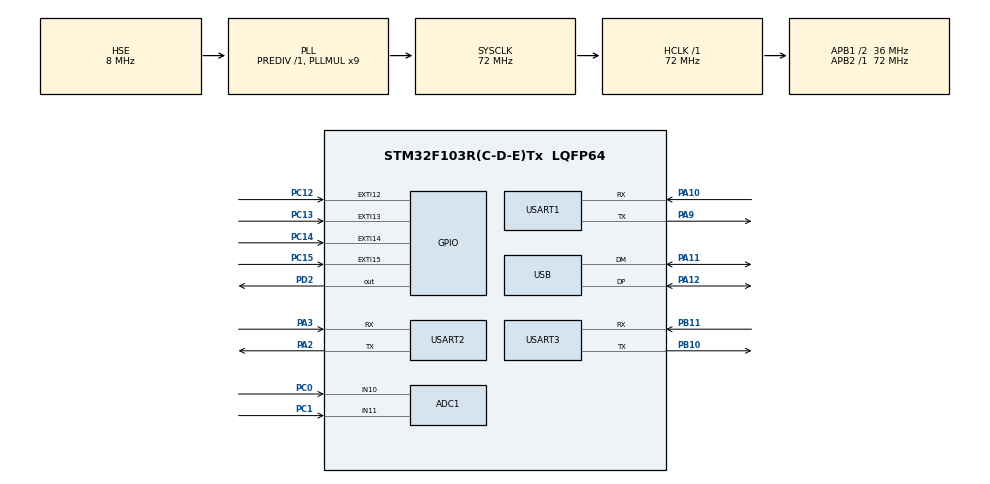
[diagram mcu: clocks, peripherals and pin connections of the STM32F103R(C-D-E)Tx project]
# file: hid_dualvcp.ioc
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ADC1.Channel-0\#ChannelRegularConversion=ADC_CHANNEL_10
ADC1.Channel-1\#ChannelRegularConversion=ADC_CHANNEL_11
ADC1.ContinuousConvMode=ENABLE
ADC1.NbrOfConversion=2
ADC1.NbrOfConversionFlag=1
ADC1.Rank-0\#ChannelRegularConversion=1
ADC1.Rank-1\#ChannelRegularConversion=2
ADC1.SamplingTime-0\#ChannelRegularConversion=ADC_SAMPLETIME_28CYCLES_5
ADC1.SamplingTime-1\#ChannelRegularConversion=ADC_SAMPLETIME_28CYCLES_5
ADC1.master=1
Dma.ADC1.0.Direction=DMA_PERIPH_TO_MEMORY
Dma.ADC1.0.Instance=DMA1_Channel1
Dma.ADC1.0.MemDataAlignment=DMA_MDATAALIGN_HALFWORD
Dma.ADC1.0.MemInc=DMA_MINC_ENABLE
Dma.ADC1.0.Mode=DMA_CIRCULAR
Dma.ADC1.0.PeriphDataAlignment=DMA_PDATAALIGN_HALFWORD
Dma.ADC1.0.PeriphInc=DMA_PINC_DISABLE
Dma.ADC1.0.Priority=DMA_PRIORITY_LOW
Dma.Request0=ADC1
Mcu.Family=STM32F1
Mcu.Name=STM32F103R(C-D-E)Tx
Mcu.Package=LQFP64
NVIC.DMA1_Channel1_IRQn=true\:0\:0\:false\:false\:true\:false\:true\:true
NVIC.EXTI15_10_IRQn=true\:0\:0\:false\:false\:true\:true\:true\:true
NVIC.PriorityGroup=NVIC_PRIORITYGROUP_2
NVIC.USART1_IRQn=true\:0\:0\:false\:false\:true\:false\:true\:true
NVIC.USART2_IRQn=true\:0\:0\:false\:false\:true\:false\:true\:true
NVIC.USART3_IRQn=true\:0\:0\:false\:false\:true\:true\:true\:true
NVIC.USB_LP_CAN1_RX0_IRQn=true\:0\:0\:false\:false\:true\:true\:true\:true
PA10.Mode=Asynchronous
PA10.Signal=USART1_RX
PA11.Mode=Device
PA11.Signal=USB_DM
PA12.Mode=Device
PA12.Signal=USB_DP
PA13.Mode=Serial_Wire
PA13.Signal=SYS_JTMS-SWDIO
PA14.Mode=Serial_Wire
PA14.Signal=SYS_JTCK-SWCLK
PA2.Mode=Asynchronous
PA2.Signal=USART2_TX
PA3.Mode=Asynchronous
PA3.Signal=USART2_RX
PA9.Mode=Asynchronous
PA9.Signal=USART1_TX
PB10.Mode=Asynchronous
PB10.Signal=USART3_TX
PB11.Mode=Asynchronous
PB11.Signal=USART3_RX
PC0.Signal=ADCx_IN10
PC1.Signal=ADCx_IN11
PC12.GPIO_ModeDefaultEXTI=GPIO_MODE_IT_RISING_FALLING
PC12.Signal=GPXTI12
PC13-TAMPER-RTC.GPIO_ModeDefaultEXTI=GPIO_MODE_IT_RISING_FALLING
PC13-TAMPER-RTC.Signal=GPXTI13
PC14-OSC32_IN.GPIO_ModeDefaultEXTI=GPIO_MODE_IT_RISING_FALLING
PC14-OSC32_IN.Signal=GPXTI14
PC15-OSC32_OUT.GPIO_ModeDefaultEXTI=GPIO_MODE_IT_RISING_FALLING
PC15-OSC32_OUT.Signal=GPXTI15
PD0-OSC_IN.Mode=HSE-External-Oscillator
PD0-OSC_IN.Signal=RCC_OSC_IN
PD1-OSC_OUT.Mode=HSE-External-Oscillator
PD1-OSC_OUT.Signal=RCC_OSC_OUT
PD2.GPIO_ModeDefaultOutputPP=GPIO_MODE_OUTPUT_OD
PD2.GPIO_PuPd=GPIO_NOPULL
PD2.PinState=GPIO_PIN_SET
PD2.Signal=GPIO_Output
ProjectManager.HeapSize=0x800
ProjectManager.StackSize=0x400
ProjectManager.TargetToolchain=STM32CubeIDE
RCC.ADCPresc=RCC_ADCPCLK2_DIV6
RCC.AHBFreq_Value=72000000
RCC.APB1CLKDivider=RCC_HCLK_DIV2
RCC.APB1Freq_Value=36000000
RCC.APB1TimFreq_Value=72000000
RCC.APB2Freq_Value=72000000
RCC.APB2TimFreq_Value=72000000
RCC.HCLKFreq_Value=72000000
RCC.PLLMUL=RCC_PLL_MUL9
RCC.SYSCLKFreq_VALUE=72000000
RCC.SYSCLKSource=RCC_SYSCLKSOURCE_PLLCLK
RCC.USBFreq_Value=48000000
RCC.USBPrescaler=RCC_USBCLKSOURCE_PLL_DIV1_5
SH.ADCx_IN10.0=ADC1_IN10,IN10
SH.ADCx_IN11.0=ADC1_IN11,IN11
USART1.VirtualMode=VM_ASYNC
USART2.VirtualMode=VM_ASYNC
USART3.VirtualMode=VM_ASYNC
board=custom

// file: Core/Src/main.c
/* USER CODE BEGIN Header */
/**
  ******************************************************************************
  * @file           : main.c
  * @brief          : Main program body
  ******************************************************************************
  * @attention
  *
  * Copyright (c) 2026 STMicroelectronics.
  * All rights reserved.
  *
  * This software is licensed under terms that can be found in the LICENSE file
  * in the root directory of this software component.
  * If no LICENSE file comes with this software, it is provided AS-IS.
  *
  ******************************************************************************
  */
/* USER CODE END Header */
#include "main.h"
#include "usb_device.h"
#include "usb_hid_keys.h"

/* USER CODE BEGIN Includes */
#include "usbd_core.h"
#include "usbd_cdc.h"
#include "usbd_cdc_if.h"
#include "usbd_hid.h"
#include "usbd_desc.h"
#include "usbd_composite_builder.h"

/* USER CODE END Includes */

ADC_HandleTypeDef hadc1;
DMA_HandleTypeDef hdma_adc1;

UART_HandleTypeDef huart1;
UART_HandleTypeDef huart2;
UART_HandleTypeDef huart3;

PCD_HandleTypeDef hpcd_USB_FS;

/* USER CODE BEGIN PV */

#define MAX_VCP_RXBUFFER	128
#define MAX_VCP_TXBUFFER	128
#define MAX_DBG_RXBUFFER	64
#define MAX_DBG_TXBUFFFER	128

uint8_t bufRxVCP[MAX_VCP_COUNT][MAX_VCP_RXBUFFER], bufRxDebug[MAX_DBG_RXBUFFER];
uint8_t bufTxVCP[MAX_VCP_COUNT][MAX_VCP_TXBUFFER], bufTxDebug[MAX_DBG_TXBUFFFER];

RingBuffer rbRxVCP[MAX_VCP_COUNT], rbRxDebug;
RingBuffer rbTxVCP[MAX_VCP_COUNT], rbTxDebug;

UartState uartVCP[MAX_VCP_COUNT], uartDebug;

uint8_t hidReport[16];

uint16_t adcValue[2];
uint32_t adcAverage[2];

uint8_t mouseButton;
int8_t mouseMovement[2]; // [UP/DOWN, LEFT/RIGHT]

extern USBD_HandleTypeDef hUsbDeviceFS;
extern uint8_t HID_InstID, CDC_InstID0, CDC_InstID1;

/* USER CODE END PV */

void SystemClock_Config(void);
static void MX_GPIO_Init(void);
static void MX_DMA_Init(void);
static void MX_USART1_UART_Init(void);
static void MX_USART2_UART_Init(void);
static void MX_USART3_UART_Init(void);
static void MX_ADC1_Init(void);
/* USER CODE BEGIN PFP */
extern void DualVCP_UartInit();
/* USER CODE END PFP */

int main(void)
{

  /* USER CODE BEGIN 1 */
  memset(&hidReport, 0, sizeof(hidReport));
  /* USER CODE END 1 */

  /* MCU Configuration--------------------------------------------------------*/

  /* Reset of all peripherals, Initializes the Flash interface and the Systick. */
  HAL_Init();

  /* Configure the system clock */
  SystemClock_Config();

  /* Initialize all configured peripherals */
  MX_GPIO_Init();
  MX_DMA_Init();
  MX_USART1_UART_Init();
  MX_USART2_UART_Init();
  MX_USART3_UART_Init();
  MX_ADC1_Init();
  /* USER CODE BEGIN 2 */
  MX_USB_DEVICE_Init();

  // initialize RingBuffer
  for (int i = 0; i < MAX_VCP_COUNT; ++i)
  {
	  RB_Init(&rbRxVCP[i], &bufRxVCP[0][0], MAX_VCP_RXBUFFER);
	  RB_Init(&rbTxVCP[i], &bufTxVCP[0][0], MAX_VCP_TXBUFFER);
  }

  RB_Init(&rbRxDebug, &bufRxDebug[0], MAX_VCP_RXBUFFER);
  RB_Init(&rbTxDebug, &bufTxDebug[0], MAX_VCP_TXBUFFER);

  // initialize UART
  for (int i = 0; i < MAX_VCP_COUNT; ++i)
	  UART_Init(&uartVCP[i], i == 0 ? &huart2 : &huart3, &rbRxVCP[i], &rbTxVCP[i]);

  UART_Init(&uartDebug, &huart1, &rbRxDebug, &rbTxDebug);

  /* USER CODE END 2 */

  /* Infinite loop */
  /* USER CODE BEGIN WHILE */

  //
  mouseButton = 0;
  memset(&adcAverage[0], 0, sizeof(adcAverage));
  memset(&mouseMovement[0], 0, sizeof(mouseMovement));

  HAL_ADC_Start_DMA(&hadc1, (uint32_t *)&adcValue[0], 2);

  //
  uint32_t lastTick = HAL_GetTick();
  while (1)
  {
	  //
	for (int i = 0; i < 2; i++)
	{
		//  UART.rxBuf <--- received from UART device
		//  UART.txBuf <--- received from USB host
		//
		//  rx_available : rxBuf is not empty & txUsbLen is zero
		//    ---> CDC_Transmit()
		//  tx_available : txBuf is not empty & txUartLen is zero
		//    ---> HAL_UART_Transmit()
		//
		if (UART_RxAvailable(&uartVCP[i]) > 0)
		{
			uint16_t len;
			uint8_t *data = UART_PreserveRxBuffer(&uartVCP[i], USB_FS_MAX_PACKET_SIZE, &len);

			// uint8_t CDC_Transmit_FS(uint8_t* Buf, uint16_t Len, uint32_t classId);
			if (CDC_Transmit_FS(data, len, i == 0 ? CDC_InstID0 : CDC_InstID1) != USBD_OK)
				UART_CheckoutRxBuffer(&uartVCP[i]);
		}

		if (UART_TxAvailable(&uartVCP[i]) > 0)
		{
			uint16_t len;
			uint8_t *data = UART_PreserveTxBuffer(&uartVCP[i], -1, &len);

			if (HAL_UART_Transmit_IT(uartVCP[i].pHandle, data, len) != HAL_OK)
				UART_CheckoutTxBuffer(&uartVCP[i]);
		}
	}

	//
#if 0
	if (UART_RxAvailable(&uartDebug) > 0)
	{
		uint16_t len;
		uint8_t *data = UART_PreserveRxBuffer(&uartDebug, 64, &len);
		//
		// parse incoming
		//
		UART_CheckoutRxBuffer(&uartDebug);
	}
#endif
	if (UART_TxAvailable(&uartDebug) > 0)
	{
		uint16_t len;
		uint8_t *data = UART_PreserveTxBuffer(&uartDebug, -1, &len);

		if (HAL_UART_Transmit_IT(uartDebug.pHandle, data, len) != HAL_OK)
			UART_CheckoutTxBuffer(&uartDebug);
	}

	//
	if (HAL_GetTick() - lastTick > 1000)
	{
		//printf("%u %u\r\n", adcValue[0], adcValue[1]);
		lastTick = HAL_GetTick();
	}

	/*
	if(HAL_GPIO_ReadPin(GPIOC, GPIO_PIN_13) == GPIO_PIN_SET)
	{
		USBD_HID_SendReport(&hUsbDeviceFS, hid_report_buffer, 4, HID_InstID);
		//USBD_CDC_TransmitPacket(&hUsbDeviceFS, CDC_InstID0);
		//USBD_CDC_TransmitPacket(&hUsbDeviceFS, CDC_InstID1);
		HAL_Delay(100);
	}
	*/
    /* USER CODE END WHILE */

  }
}

void SystemClock_Config(void)
{
  RCC_OscInitTypeDef RCC_OscInitStruct = {0};
  RCC_ClkInitTypeDef RCC_ClkInitStruct = {0};
  RCC_PeriphCLKInitTypeDef PeriphClkInit = {0};

  /** Initializes the RCC Oscillators according to the specified parameters
  * in the RCC_OscInitTypeDef structure.
  */
  RCC_OscInitStruct.OscillatorType = RCC_OSCILLATORTYPE_HSE;
  RCC_OscInitStruct.HSEState = RCC_HSE_ON;
  RCC_OscInitStruct.HSEPredivValue = RCC_HSE_PREDIV_DIV1;
  RCC_OscInitStruct.HSIState = RCC_HSI_ON;
  RCC_OscInitStruct.PLL.PLLState = RCC_PLL_ON;
  RCC_OscInitStruct.PLL.PLLSource = RCC_PLLSOURCE_HSE;
  RCC_OscInitStruct.PLL.PLLMUL = RCC_PLL_MUL9;
  if (HAL_RCC_OscConfig(&RCC_OscInitStruct) != HAL_OK)
  {
    Error_Handler();
  }

  /** Initializes the CPU, AHB and APB buses clocks
  */
  RCC_ClkInitStruct.ClockType = RCC_CLOCKTYPE_HCLK|RCC_CLOCKTYPE_SYSCLK
                              |RCC_CLOCKTYPE_PCLK1|RCC_CLOCKTYPE_PCLK2;
  RCC_ClkInitStruct.SYSCLKSource = RCC_SYSCLKSOURCE_PLLCLK;
  RCC_ClkInitStruct.AHBCLKDivider = RCC_SYSCLK_DIV1;
  RCC_ClkInitStruct.APB1CLKDivider = RCC_HCLK_DIV2;
  RCC_ClkInitStruct.APB2CLKDivider = RCC_HCLK_DIV1;

  if (HAL_RCC_ClockConfig(&RCC_ClkInitStruct, FLASH_LATENCY_2) != HAL_OK)
  {
    Error_Handler();
  }
  PeriphClkInit.PeriphClockSelection = RCC_PERIPHCLK_USB;
  PeriphClkInit.AdcClockSelection = RCC_ADCPCLK2_DIV6; // 12MHz
  PeriphClkInit.UsbClockSelection = RCC_USBCLKSOURCE_PLL_DIV1_5;
  if (HAL_RCCEx_PeriphCLKConfig(&PeriphClkInit) != HAL_OK)
  {
    Error_Handler();
  }
}

static void MX_ADC1_Init(void)
{

  ADC_ChannelConfTypeDef sConfig = {0};

  /** Common config
  */
  hadc1.Instance = ADC1;
  hadc1.Init.ScanConvMode = ADC_SCAN_ENABLE;
  hadc1.Init.ContinuousConvMode = ENABLE;
  hadc1.Init.DiscontinuousConvMode = DISABLE;
  hadc1.Init.ExternalTrigConv = ADC_SOFTWARE_START;
  hadc1.Init.DataAlign = ADC_DATAALIGN_RIGHT;
  hadc1.Init.NbrOfConversion = 2;
  if (HAL_ADC_Init(&hadc1) != HAL_OK)
  {
    Error_Handler();
  }

  /** Configure Regular Channel
  */
  sConfig.Channel = ADC_CHANNEL_10;
  sConfig.Rank = ADC_REGULAR_RANK_1;
  sConfig.SamplingTime = ADC_SAMPLETIME_239CYCLES_5;
  if (HAL_ADC_ConfigChannel(&hadc1, &sConfig) != HAL_OK)
  {
    Error_Handler();
  }

  /** Configure Regular Channel
  */
  sConfig.Channel = ADC_CHANNEL_11;
  sConfig.Rank = ADC_REGULAR_RANK_2;
  if (HAL_ADC_ConfigChannel(&hadc1, &sConfig) != HAL_OK)
  {
    Error_Handler();
  }

}

static void MX_USART1_UART_Init(void)
{

  huart1.Instance = USART1;
  huart1.Init.BaudRate = 115200;
  huart1.Init.WordLength = UART_WORDLENGTH_8B;
  huart1.Init.StopBits = UART_STOPBITS_1;
  huart1.Init.Parity = UART_PARITY_NONE;
  huart1.Init.Mode = UART_MODE_TX_RX;
  huart1.Init.HwFlowCtl = UART_HWCONTROL_NONE;
  huart1.Init.OverSampling = UART_OVERSAMPLING_16;
  if (HAL_UART_Init(&huart1) != HAL_OK)
  {
    Error_Handler();
  }

}

static void MX_USART2_UART_Init(void)
{

  huart2.Instance = USART2;
  huart2.Init.BaudRate = 115200;
  huart2.Init.WordLength = UART_WORDLENGTH_8B;
  huart2.Init.StopBits = UART_STOPBITS_1;
  huart2.Init.Parity = UART_PARITY_NONE;
  huart2.Init.Mode = UART_MODE_TX_RX;
  huart2.Init.HwFlowCtl = UART_HWCONTROL_NONE;
  huart2.Init.OverSampling = UART_OVERSAMPLING_16;
  if (HAL_UART_Init(&huart2) != HAL_OK)
  {
    Error_Handler();
  }

}

static void MX_USART3_UART_Init(void)
{

  huart3.Instance = USART3;
  huart3.Init.BaudRate = 115200;
  huart3.Init.WordLength = UART_WORDLENGTH_8B;
  huart3.Init.StopBits = UART_STOPBITS_1;
  huart3.Init.Parity = UART_PARITY_NONE;
  huart3.Init.Mode = UART_MODE_TX_RX;
  huart3.Init.HwFlowCtl = UART_HWCONTROL_NONE;
  huart3.Init.OverSampling = UART_OVERSAMPLING_16;
  if (HAL_UART_Init(&huart3) != HAL_OK)
  {
    Error_Handler();
  }

}

void MX_USB_PCD_Init(void)
{

  hpcd_USB_FS.Instance = USB;
  hpcd_USB_FS.Init.dev_endpoints = 8;
  hpcd_USB_FS.Init.speed = PCD_SPEED_FULL;
  hpcd_USB_FS.Init.low_power_enable = DISABLE;
  hpcd_USB_FS.Init.lpm_enable = DISABLE;
  hpcd_USB_FS.Init.battery_charging_enable = DISABLE;
  if (HAL_PCD_Init(&hpcd_USB_FS) != HAL_OK)
  {
    Error_Handler();
  }

}

static void MX_DMA_Init(void)
{

  /* DMA controller clock enable */
  __HAL_RCC_DMA1_CLK_ENABLE();

  /* DMA interrupt init */
  /* DMA1_Channel1_IRQn interrupt configuration */
  HAL_NVIC_SetPriority(DMA1_Channel1_IRQn, 0, 0);
  HAL_NVIC_EnableIRQ(DMA1_Channel1_IRQn);

}

static void MX_GPIO_Init(void)
{
  GPIO_InitTypeDef GPIO_InitStruct = {0};

  /* GPIO Ports Clock Enable */
  __HAL_RCC_GPIOD_CLK_ENABLE();
  __HAL_RCC_GPIOA_CLK_ENABLE();
  __HAL_RCC_GPIOB_CLK_ENABLE();
  __HAL_RCC_GPIOC_CLK_ENABLE();

  /*Configure GPIO pin Output Level */
  HAL_GPIO_WritePin(GPIOD, GPIO_PIN_2, GPIO_PIN_SET);

  /*Configure GPIO pins : PC13 PC14 PC15 PC12 */
  GPIO_InitStruct.Pin = GPIO_PIN_13|GPIO_PIN_14|GPIO_PIN_15|GPIO_PIN_12;
  GPIO_InitStruct.Mode = GPIO_MODE_IT_RISING_FALLING;
  GPIO_InitStruct.Pull = GPIO_NOPULL;
  HAL_GPIO_Init(GPIOC, &GPIO_InitStruct);

  /*Configure GPIO pin : PD2 */
  GPIO_InitStruct.Pin = GPIO_PIN_2;
  GPIO_InitStruct.Mode = GPIO_MODE_OUTPUT_OD;
  GPIO_InitStruct.Pull = GPIO_NOPULL;
  GPIO_InitStruct.Speed = GPIO_SPEED_FREQ_LOW;
  HAL_GPIO_Init(GPIOD, &GPIO_InitStruct);

  /* EXTI interrupt init*/
  HAL_NVIC_SetPriority(EXTI15_10_IRQn, 0, 0);
  HAL_NVIC_EnableIRQ(EXTI15_10_IRQn);

  /* USER CODE BEGIN MX_GPIO_Init_2 */
  /*Configure GPIO pin : PC13 */
  //GPIO_InitStruct.Pin = GPIO_PIN_13;
  //GPIO_InitStruct.Mode = GPIO_MODE_INPUT;
  //GPIO_InitStruct.Pull = GPIO_PULLDOWN;
  //HAL_GPIO_Init(GPIOC, &GPIO_InitStruct);

  /* USER CODE END MX_GPIO_Init_2 */
}

/* USER CODE BEGIN 4 */
#if 1
#ifdef __GNUC__
#define PUTCHAR_PROTOTYPE int __io_putchar(int ch)
#else
#define PUTCHAR_PROTOTYPE int fputc(int ch, FILE *f)
#endif /* __GNUC__ */

PUTCHAR_PROTOTYPE
{
  // Transmit a single character via the specified UART handle (e.g., &huart2)
	UART_Transmit(&uartDebug, (uint8_t *)&ch, 1);
  return ch;
}
#else
int _write(int file, char *ptr, int len)
{
    // Transmit the string via the specified UART handle (e.g., &huart2)
    //HAL_UART_Transmit(&huart1, (uint8_t*)ptr, len, HAL_MAX_DELAY);
	UART_Transmit(&uartDebug, (uint8_t *)ptr, (uint16_t)len);
    return len;
}
#endif

void HAL_UART_TxCpltCallback(UART_HandleTypeDef *huart)
{
	if (huart == &huart1)
	{
		UART_CheckoutTxBuffer(&uartDebug);
	}
	else if (huart == &huart2)
	{
		UART_CheckoutTxBuffer(&uartVCP[0]);
	}
	else if (huart == &huart3)
	{
		UART_CheckoutTxBuffer(&uartVCP[1]);
	}
}

void HAL_UART_RxCpltCallback(UART_HandleTypeDef *huart)
{
	if (huart == &huart1)
	{
		UART_ProcessReceive(&uartDebug);
	}
	else if (huart == &huart2)
	{
		UART_ProcessReceive(&uartVCP[0]);
	}
	else if (huart == &huart3)
	{
		UART_ProcessReceive(&uartVCP[1]);
	}
}

void HAL_UART_ErrorCallback(UART_HandleTypeDef *huart)
{

}

void ReportKeyboard()
{

}

void ReportMouse(uint8_t button, uint8_t moveX, uint8_t moveY)
{
	hidReport[0] = 2;
	hidReport[1] = button;
	hidReport[2] = moveX;
	hidReport[3] = moveY;

	USBD_HID_SendReport(&hUsbDeviceFS, hidReport, 9, HID_InstID);
}

void HAL_ADC_ConvCpltCallback(ADC_HandleTypeDef* hadc)
{
	static uint32_t count = 0;

	adcAverage[0] += adcValue[0];
	adcAverage[1] += adcValue[1];

	if (++count >= 1000)
	{
		adcAverage[0] /= count;
		adcAverage[1] /= count;
		count = 0;

		//printf("%u %u\r\n", (unsigned int)adcAverage[0], (unsigned int)adcAverage[1]);
		int deltaY = ((int)adcAverage[0] - 1992) / 14;
		int deltaX = ((int)adcAverage[1] - 1988) / 14;

		if (deltaY < -100)
			deltaY = -100;
		if (deltaY > 100)
			deltaY = 100;
		if (deltaX < -100)
			deltaX = -100;
		if (deltaX > 100)
			deltaX = 100;

		deltaX = -deltaX;

		if (mouseMovement[0] != deltaY || mouseMovement[1] != deltaX)
		{
			mouseMovement[0] = deltaY;
			mouseMovement[1] = deltaX;

			ReportMouse(mouseButton, mouseMovement[1], mouseMovement[0]);
		}
	}
}

void HAL_GPIO_EXTI_Callback(uint16_t GPIO_Pin)
{
	GPIO_PinState state = HAL_GPIO_ReadPin(GPIOC, GPIO_Pin);

	switch (GPIO_Pin)
	{
	case GPIO_PIN_15:
		/*
		hidReport[0] = 1;
		hidReport[1] = 0;
		hidReport[2] = 0;
		hidReport[3] = state == GPIO_PIN_RESET ? KEY_LEFT : 0;

		USBD_HID_SendReport(&hUsbDeviceFS, hidReport, 9, HID_InstID);
		*/
		if (state == GPIO_PIN_RESET)
			mouseButton |= 0x01;
		else
			mouseButton &= ~0x01;
		ReportMouse(mouseButton, mouseMovement[1], mouseMovement[0]);
		break;
	case GPIO_PIN_14:
		/*
		hidReport[0] = 1;
		hidReport[1] = 0;
		hidReport[2] = 0;
		hidReport[3] = state == GPIO_PIN_RESET ? KEY_ENTER : 0;

		USBD_HID_SendReport(&hUsbDeviceFS, hidReport, 9, HID_InstID);
		*/
		if (state == GPIO_PIN_RESET)
			mouseButton |= 0x04;
		else
			mouseButton &= ~0x04;
		ReportMouse(mouseButton, mouseMovement[1], mouseMovement[0]);
		break;
	case GPIO_PIN_13:
		/*
		hidReport[0] = 1;
		hidReport[1] = 0;
		hidReport[2] = 0;
		hidReport[3] = state == GPIO_PIN_RESET ? KEY_RIGHT : 0;

		USBD_HID_SendReport(&hUsbDeviceFS, hidReport, 9, HID_InstID);
		*/
		if (state == GPIO_PIN_RESET)
			mouseButton |= 0x02;
		else
			mouseButton &= ~0x02;
		ReportMouse(mouseButton, mouseMovement[1], mouseMovement[0]);
		break;

	case GPIO_PIN_12:
		//ReportMouse(state == GPIO_PIN_RESET ? 0x01 : 0, mouseMovement[1], mouseMovement[0]);
		break;
	}
}

/* USER CODE END 4 */

void Error_Handler(void)
{
  __disable_irq();
  while (1)
  {
  }
}
